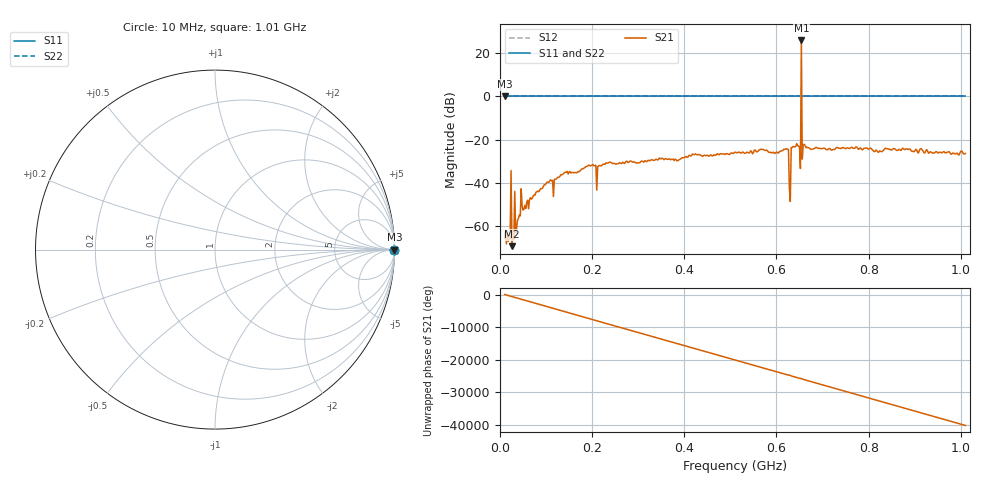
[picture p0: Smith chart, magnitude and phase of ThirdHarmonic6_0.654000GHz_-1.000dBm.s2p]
! 8/15/2025 9:43:08 PM
! C:\ANRITSUVNA\TEMP\TEMP.S2P
! CHANNEL.1
! TR.MEASUREMENT
! RAW.DATA
! RF.CORRECTION.OFF
! AVERAGING.OFF
! IF.BANDWIDTH: 5KHZ
! SWEEPTYPE:  FREQ.SWEEP(Linear)
! Reference Plane Port Info
! PORT:  PORT1  PORT2
! DISTANCE:  0  m  0  m
! TIME:  0  s  0  s
! PHASE.OFFSET:  0  deg.  0  deg.
! LOSS:  0  dB  0  dB
! REF.LOSS:  0  dB  0  dB
! REF.FREQ:  0  Hz  0  Hz
! Power Info
! POWER:  -20  dBm  -20  dBm
! EFF.POWER:  -20  dBm  -20  dBm
! SOURCE.ATTEN:  0  dB  0  dB
! TEST.ATTEN:  0  dB  0  dB
# GHZ S RI R 50.0
! FREQ.GHZ  S11RE  S11IM  S21RE  S21IM  S12RE  S12IM  S22RE  S22IM
!; PortSelection: Port_12
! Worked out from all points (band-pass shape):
!   501 points, 10 MHz to 1.01 GHz, reference 50 ohm
!   highest |S21| = 25.98 dB at 654 MHz (marker M1); lowest = -69.5 dB at 26 MHz (marker M2)
!   |S21| within 3 dB of the highest: 653.899 MHz to 654.1089 MHz (209.9 kHz wide, 0.0321 % of centre)
!   lowest |S11| = 0.0 dB at 10 MHz (marker M3)
!   |S11| at or under -10 dB: nowhere
!   |S22| runs from 0.0 to 0.0 dB; largest |S21 - S12| = 21
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0.01  1 0  -0.000352 0.000365  1 0  1 0
0.018  1 0  -0.000436 -1.24e-05  1 0  1 0
0.026  1 0  -0.000263 -0.000207  1 0  1 0
0.028  1 0  -0.000731 -0.000239  1 0  1 0
0.03  1 0  0.000217 0.000416  1 0  1 0
0.05  1 0  0.00224 -0.000549  1 0  1 0
0.1  1 0  -0.00254 0.00921  1 0  1 0
0.178  1 0  -0.0209 -0.000413  1 0  1 0
0.344  1 0  0.0276 -0.0209  1 0  1 0
0.51  1 0  -0.0243 0.0445  1 0  1 0
0.622  1 0  0.0189 -0.058  1 0  1 0
0.626  1 0  -0.035 0.0473  1 0  1 0
0.632  1 0  -0.0298 -0.0579  1 0  1 0
0.636  1 0  0.00874 0.0685  1 0  1 0
0.648  1 0  0.0459 -0.052  1 0  1 0
0.65  1 0  -0.0447 -0.0527  1 0  1 0
0.654  1 0  -19.48 4.061  1 0  1 0
0.658  1 0  -0.00403 -0.0745  1 0  1 0
0.66  1 0  -0.0775 -0.00121  1 0  1 0
0.678  1 0  -0.0598 0.00574  1 0  1 0
0.844  1 0  0.0404 -0.0451  1 0  1 0
1.01  1 0  0.00166 0.0473  1 0  1 0
